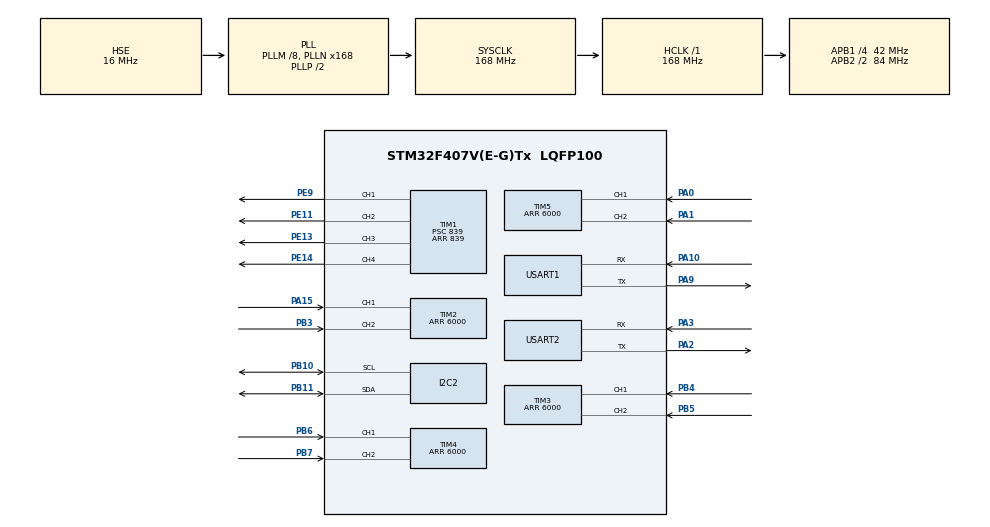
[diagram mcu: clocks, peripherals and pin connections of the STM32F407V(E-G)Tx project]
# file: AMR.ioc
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Dma.Request0=USART2_RX
Dma.Request1=USART2_TX
Dma.Request2=USART1_RX
Dma.Request3=USART1_TX
Dma.USART1_RX.2.Direction=DMA_PERIPH_TO_MEMORY
Dma.USART1_RX.2.FIFOMode=DMA_FIFOMODE_DISABLE
Dma.USART1_RX.2.Instance=DMA2_Stream2
Dma.USART1_RX.2.MemDataAlignment=DMA_MDATAALIGN_BYTE
Dma.USART1_RX.2.MemInc=DMA_MINC_ENABLE
Dma.USART1_RX.2.Mode=DMA_CIRCULAR
Dma.USART1_RX.2.PeriphDataAlignment=DMA_PDATAALIGN_BYTE
Dma.USART1_RX.2.PeriphInc=DMA_PINC_DISABLE
Dma.USART1_RX.2.Priority=DMA_PRIORITY_VERY_HIGH
Dma.USART1_TX.3.Direction=DMA_MEMORY_TO_PERIPH
Dma.USART1_TX.3.FIFOMode=DMA_FIFOMODE_DISABLE
Dma.USART1_TX.3.Instance=DMA2_Stream7
Dma.USART1_TX.3.MemDataAlignment=DMA_MDATAALIGN_BYTE
Dma.USART1_TX.3.MemInc=DMA_MINC_ENABLE
Dma.USART1_TX.3.Mode=DMA_NORMAL
Dma.USART1_TX.3.PeriphDataAlignment=DMA_PDATAALIGN_BYTE
Dma.USART1_TX.3.PeriphInc=DMA_PINC_DISABLE
Dma.USART1_TX.3.Priority=DMA_PRIORITY_VERY_HIGH
Dma.USART2_RX.0.Direction=DMA_PERIPH_TO_MEMORY
Dma.USART2_RX.0.FIFOMode=DMA_FIFOMODE_DISABLE
Dma.USART2_RX.0.Instance=DMA1_Stream5
Dma.USART2_RX.0.MemDataAlignment=DMA_MDATAALIGN_BYTE
Dma.USART2_RX.0.MemInc=DMA_MINC_ENABLE
Dma.USART2_RX.0.Mode=DMA_CIRCULAR
Dma.USART2_RX.0.PeriphDataAlignment=DMA_PDATAALIGN_BYTE
Dma.USART2_RX.0.PeriphInc=DMA_PINC_DISABLE
Dma.USART2_RX.0.Priority=DMA_PRIORITY_LOW
Dma.USART2_TX.1.Direction=DMA_MEMORY_TO_PERIPH
Dma.USART2_TX.1.FIFOMode=DMA_FIFOMODE_DISABLE
Dma.USART2_TX.1.Instance=DMA1_Stream6
Dma.USART2_TX.1.MemDataAlignment=DMA_MDATAALIGN_BYTE
Dma.USART2_TX.1.MemInc=DMA_MINC_ENABLE
Dma.USART2_TX.1.Mode=DMA_NORMAL
Dma.USART2_TX.1.PeriphDataAlignment=DMA_PDATAALIGN_BYTE
Dma.USART2_TX.1.PeriphInc=DMA_PINC_DISABLE
Dma.USART2_TX.1.Priority=DMA_PRIORITY_LOW
FREERTOS.Tasks01=defaultTask,24,128,StartDefaultTask,Default,NULL,Dynamic,NULL,NULL
FREERTOS.configTOTAL_HEAP_SIZE=65536
FREERTOS.configUSE_NEWLIB_REENTRANT=1
I2C2.I2C_Mode=I2C_Fast
Mcu.Family=STM32F4
Mcu.Name=STM32F407V(E-G)Tx
Mcu.Package=LQFP100
NVIC.DMA1_Stream5_IRQn=true\:5\:0\:false\:false\:true\:true\:false\:true\:true
NVIC.DMA1_Stream6_IRQn=true\:5\:0\:false\:false\:true\:true\:false\:true\:true
NVIC.DMA2_Stream2_IRQn=true\:5\:0\:false\:false\:true\:true\:false\:true\:true
NVIC.DMA2_Stream7_IRQn=true\:5\:0\:false\:false\:true\:true\:false\:true\:true
NVIC.PriorityGroup=NVIC_PRIORITYGROUP_4
NVIC.TIM6_DAC_IRQn=true\:15\:0\:false\:false\:true\:false\:false\:true\:true
NVIC.TimeBase=TIM6_DAC_IRQn
NVIC.TimeBaseIP=TIM6
NVIC.USART1_IRQn=true\:5\:0\:false\:false\:true\:true\:false\:true\:true
NVIC.USART2_IRQn=true\:5\:0\:false\:false\:true\:true\:false\:true\:true
PA0-WKUP.Signal=S_TIM5_CH1
PA1.Signal=S_TIM5_CH2
PA10.Mode=Asynchronous
PA10.Signal=USART1_RX
PA15.Signal=S_TIM2_CH1_ETR
PA2.Mode=Asynchronous
PA2.Signal=USART2_TX
PA3.Mode=Asynchronous
PA3.Signal=USART2_RX
PA9.Mode=Asynchronous
PA9.Signal=USART1_TX
PB10.Mode=I2C
PB10.Signal=I2C2_SCL
PB11.Mode=I2C
PB11.Signal=I2C2_SDA
PB3.Signal=S_TIM2_CH2
PB4.Signal=S_TIM3_CH1
PB5.Signal=S_TIM3_CH2
PB6.Signal=S_TIM4_CH1
PB7.Signal=S_TIM4_CH2
PE11.Signal=S_TIM1_CH2
PE13.Signal=S_TIM1_CH3
PE14.Signal=S_TIM1_CH4
PE9.Signal=S_TIM1_CH1
PH0-OSC_IN.Mode=HSE-External-Oscillator
PH0-OSC_IN.Signal=RCC_OSC_IN
PH1-OSC_OUT.Mode=HSE-External-Oscillator
PH1-OSC_OUT.Signal=RCC_OSC_OUT
ProjectManager.HeapSize=0x200
ProjectManager.StackSize=0x400
ProjectManager.TargetToolchain=STM32CubeIDE
RCC.48MHZClocksFreq_Value=84000000
RCC.AHBFreq_Value=168000000
RCC.APB1CLKDivider=RCC_HCLK_DIV4
RCC.APB1Freq_Value=42000000
RCC.APB1TimFreq_Value=84000000
RCC.APB2CLKDivider=RCC_HCLK_DIV2
RCC.APB2Freq_Value=84000000
RCC.APB2TimFreq_Value=168000000
RCC.CortexFreq_Value=168000000
RCC.HCLKFreq_Value=168000000
RCC.HSE_VALUE=16000000
RCC.HSI_VALUE=16000000
RCC.LSE_VALUE=32768
RCC.PLLM=8
RCC.PLLN=168
RCC.PLLSourceVirtual=RCC_PLLSOURCE_HSE
RCC.SYSCLKFreq_VALUE=168000000
RCC.SYSCLKSource=RCC_SYSCLKSOURCE_PLLCLK
RCC.VCOOutputFreq_Value=336000000
SH.S_TIM1_CH1.0=TIM1_CH1,PWM Generation1 CH1
SH.S_TIM1_CH2.0=TIM1_CH2,PWM Generation2 CH2
SH.S_TIM1_CH3.0=TIM1_CH3,PWM Generation3 CH3
SH.S_TIM1_CH4.0=TIM1_CH4,PWM Generation4 CH4
SH.S_TIM2_CH1_ETR.0=TIM2_CH1,Encoder_Interface
SH.S_TIM2_CH2.0=TIM2_CH2,Encoder_Interface
SH.S_TIM3_CH1.0=TIM3_CH1,Encoder_Interface
SH.S_TIM3_CH2.0=TIM3_CH2,Encoder_Interface
SH.S_TIM4_CH1.0=TIM4_CH1,Encoder_Interface
SH.S_TIM4_CH2.0=TIM4_CH2,Encoder_Interface
SH.S_TIM5_CH1.0=TIM5_CH1,Encoder_Interface
SH.S_TIM5_CH2.0=TIM5_CH2,Encoder_Interface
TIM1.AutoReloadPreload=TIM_AUTORELOAD_PRELOAD_ENABLE
TIM1.Channel-PWM\ Generation1\ CH1=TIM_CHANNEL_1
TIM1.Channel-PWM\ Generation2\ CH2=TIM_CHANNEL_2
TIM1.Channel-PWM\ Generation3\ CH3=TIM_CHANNEL_3
TIM1.Channel-PWM\ Generation4\ CH4=TIM_CHANNEL_4
TIM1.Period=839
TIM1.Prescaler=839
TIM2.AutoReloadPreload=TIM_AUTORELOAD_PRELOAD_ENABLE
TIM2.Period=6000
TIM3.AutoReloadPreload=TIM_AUTORELOAD_PRELOAD_ENABLE
TIM3.Period=6000
TIM4.AutoReloadPreload=TIM_AUTORELOAD_PRELOAD_ENABLE
TIM4.Period=6000
TIM5.AutoReloadPreload=TIM_AUTORELOAD_PRELOAD_ENABLE
TIM5.Period=6000
USART1.VirtualMode=VM_ASYNC
USART2.VirtualMode=VM_ASYNC
VP_FREERTOS_VS_CMSIS_V2.Mode=CMSIS_V2
VP_SYS_VS_tim6.Mode=TIM6
board=custom

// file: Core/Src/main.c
/* USER CODE BEGIN Header */
/**
  ******************************************************************************
  * @file           : main.c
  * @brief          : Main program body
  ******************************************************************************
  * @attention
  *
  * Copyright (c) 2026 STMicroelectronics.
  * All rights reserved.
  *
  * This software is licensed under terms that can be found in the LICENSE file
  * in the root directory of this software component.
  * If no LICENSE file comes with this software, it is provided AS-IS.
  *
  ******************************************************************************
  */
/* USER CODE END Header */
#include "main.h"
#include "cmsis_os.h"
#include "dma.h"
#include "i2c.h"
#include "tim.h"
#include "usart.h"
#include "gpio.h"

void SystemClock_Config(void);
void MX_FREERTOS_Init(void);

int main(void)
{

  /* MCU Configuration--------------------------------------------------------*/

  /* Reset of all peripherals, Initializes the Flash interface and the Systick. */
  HAL_Init();

  /* Configure the system clock */
  SystemClock_Config();

  /* Initialize all configured peripherals */
  MX_GPIO_Init();
  MX_DMA_Init();
  MX_TIM1_Init();
  MX_TIM2_Init();
  MX_TIM3_Init();
  MX_TIM4_Init();
  MX_TIM5_Init();
  MX_USART2_UART_Init();
  MX_USART1_UART_Init();
  MX_I2C2_Init();

  /* Init scheduler */
  osKernelInitialize();  /* Call init function for freertos objects (in cmsis_os2.c) */
  MX_FREERTOS_Init();

  /* Start scheduler */
  osKernelStart();

  /* We should never get here as control is now taken by the scheduler */

  /* Infinite loop */
  while (1)
  {

  }
}

void SystemClock_Config(void)
{
  RCC_OscInitTypeDef RCC_OscInitStruct = {0};
  RCC_ClkInitTypeDef RCC_ClkInitStruct = {0};

  /** Configure the main internal regulator output voltage
  */
  __HAL_RCC_PWR_CLK_ENABLE();
  __HAL_PWR_VOLTAGESCALING_CONFIG(PWR_REGULATOR_VOLTAGE_SCALE1);

  /** Initializes the RCC Oscillators according to the specified parameters
  * in the RCC_OscInitTypeDef structure.
  */
  RCC_OscInitStruct.OscillatorType = RCC_OSCILLATORTYPE_HSE;
  RCC_OscInitStruct.HSEState = RCC_HSE_ON;
  RCC_OscInitStruct.PLL.PLLState = RCC_PLL_ON;
  RCC_OscInitStruct.PLL.PLLSource = RCC_PLLSOURCE_HSE;
  RCC_OscInitStruct.PLL.PLLM = 8;
  RCC_OscInitStruct.PLL.PLLN = 168;
  RCC_OscInitStruct.PLL.PLLP = RCC_PLLP_DIV2;
  RCC_OscInitStruct.PLL.PLLQ = 4;
  if (HAL_RCC_OscConfig(&RCC_OscInitStruct) != HAL_OK)
  {
    Error_Handler();
  }

  /** Initializes the CPU, AHB and APB buses clocks
  */
  RCC_ClkInitStruct.ClockType = RCC_CLOCKTYPE_HCLK|RCC_CLOCKTYPE_SYSCLK
                              |RCC_CLOCKTYPE_PCLK1|RCC_CLOCKTYPE_PCLK2;
  RCC_ClkInitStruct.SYSCLKSource = RCC_SYSCLKSOURCE_PLLCLK;
  RCC_ClkInitStruct.AHBCLKDivider = RCC_SYSCLK_DIV1;
  RCC_ClkInitStruct.APB1CLKDivider = RCC_HCLK_DIV4;
  RCC_ClkInitStruct.APB2CLKDivider = RCC_HCLK_DIV2;

  if (HAL_RCC_ClockConfig(&RCC_ClkInitStruct, FLASH_LATENCY_5) != HAL_OK)
  {
    Error_Handler();
  }
}

void HAL_TIM_PeriodElapsedCallback(TIM_HandleTypeDef *htim)
{
  if (htim->Instance == TIM6)
  {
    HAL_IncTick();
  }
}

void Error_Handler(void)
{
  __disable_irq();
  while (1)
  {
  }
}

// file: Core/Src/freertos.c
/* USER CODE BEGIN Header */
/**
  ******************************************************************************
  * File Name          : freertos.c
  * Description        : Code for freertos applications
  ******************************************************************************
  * @attention
  *
  * Copyright (c) 2026 STMicroelectronics.
  * All rights reserved.
  *
  * This software is licensed under terms that can be found in the LICENSE file
  * in the root directory of this software component.
  * If no LICENSE file comes with this software, it is provided AS-IS.
  *
  ******************************************************************************
  */
/* USER CODE END Header */

#include "FreeRTOS.h"
#include "task.h"
#include "main.h"
#include "cmsis_os.h"

/* USER CODE BEGIN Includes */
#include "tim.h"
#include "usart.h"
#include "i2c.h"
#include <stdio.h>
#include <string.h>

#include <rcl/rcl.h>
#include <rcl/error_handling.h>
#include <rclc/rclc.h>
#include <rclc/executor.h>
#include <uxr/client/transport.h>
#include <rmw_microxrcedds_c/config.h>
#include <rmw_microros/rmw_microros.h>

// imu,엔코더
#include <sensor_msgs/msg/imu.h>
#include <std_msgs/msg/float32.h>

#include <geometry_msgs/msg/twist.h>
/* USER CODE END Includes */

/* USER CODE BEGIN Variables */
osThreadId_t microROSTaskHandle;
const osThreadAttr_t microROSTask_attributes = {
  .name = "microROSTask",
  .stack_size = 4096 * 4,   /* 4096 words * 4 bytes = 16384 bytes (16KB) --
                               bumped from 10KB for printf() debug logging headroom */
  .priority = (osPriority_t) osPriorityNormal,
};
/* USER CODE END Variables */
/* Definitions for defaultTask */
osThreadId_t defaultTaskHandle;
const osThreadAttr_t defaultTask_attributes = {
  .name = "defaultTask",
  .stack_size = 128 * 4,
  .priority = (osPriority_t) osPriorityNormal,
};

/* USER CODE BEGIN FunctionPrototypes */
void StartMicroROSTask(void *argument);

bool cubemx_transport_open(struct uxrCustomTransport * transport);
bool cubemx_transport_close(struct uxrCustomTransport * transport);
size_t cubemx_transport_write(struct uxrCustomTransport* transport, const uint8_t * buf, size_t len, uint8_t * err);
size_t cubemx_transport_read(struct uxrCustomTransport* transport, uint8_t* buf, size_t len, int timeout, uint8_t* err);

void * microros_allocate(size_t size, void * state);
void microros_deallocate(void * pointer, void * state);
void * microros_reallocate(void * pointer, size_t size, void * state);
void * microros_zero_allocate(size_t number_of_elements, size_t size_of_element, void * state);
/* USER CODE END FunctionPrototypes */

void StartDefaultTask(void *argument);

void MX_FREERTOS_Init(void); /* (MISRA C 2004 rule 8.1) */

void MX_FREERTOS_Init(void) {

  /* Create the thread(s) */
  /* creation of defaultTask */
  defaultTaskHandle = osThreadNew(StartDefaultTask, NULL, &defaultTask_attributes);

  /* USER CODE BEGIN RTOS_THREADS */
  /* add threads, ... */
  microROSTaskHandle = osThreadNew(StartMicroROSTask, NULL, &microROSTask_attributes);
  /* USER CODE END RTOS_THREADS */

}

void StartDefaultTask(void *argument)
{
  /* USER CODE BEGIN StartDefaultTask */
  /* TIM1 CH1/CH2 = left wheel (fwd/rev), CH3/CH4 = right wheel (fwd/rev)
     dual-PWM H-bridge input scheme: assumed onboard driver wiring, adjust if different */
  HAL_TIM_PWM_Start(&htim1, TIM_CHANNEL_1);
  HAL_TIM_PWM_Start(&htim1, TIM_CHANNEL_2);
  HAL_TIM_PWM_Start(&htim1, TIM_CHANNEL_3);
  HAL_TIM_PWM_Start(&htim1, TIM_CHANNEL_4);

  /* Encoders: right wheel (PE13/PE14 motor) confirmed paired with TIM5 from
     the working single-motor demo. Left wheel (PE9/PE11 motor) encoder TIM
     is an unverified guess (TIM2) -- confirm by hand-spinning left wheel. */
  HAL_TIM_Encoder_Start(&htim2, TIM_CHANNEL_ALL);
  HAL_TIM_Encoder_Start(&htim5, TIM_CHANNEL_ALL);

  /* Start stopped. Actual duty is driven by cmd_vel_callback() below once
     the Raspberry Pi starts publishing cmd_vel over micro-ROS. */
  __HAL_TIM_SET_COMPARE(&htim1, TIM_CHANNEL_1, 0);
  __HAL_TIM_SET_COMPARE(&htim1, TIM_CHANNEL_2, 0);
  __HAL_TIM_SET_COMPARE(&htim1, TIM_CHANNEL_3, 0);
  __HAL_TIM_SET_COMPARE(&htim1, TIM_CHANNEL_4, 0);

  /* Infinite loop */
  for(;;)
  {
    osDelay(1);
  }
  /* USER CODE END StartDefaultTask */
}

/* USER CODE BEGIN Application */
/* Debug console on USART2 (PA2/PA3) -- independent of the USART1 micro-ROS
   transport, so plug a second USB-TTL adapter here to see printf output. */
int __io_putchar(int ch)
{
  HAL_UART_Transmit(&huart2, (uint8_t *)&ch, 1, HAL_MAX_DELAY);
  return ch;
}

/* configCHECK_FOR_STACK_OVERFLOW is enabled in FreeRTOSConfig.h; this hook is
   required once that's on. Uses a raw blocking transmit instead of printf()
   since we're already out of stack when this runs. */
void vApplicationStackOverflowHook(TaskHandle_t xTask, char *pcTaskName)
{
  (void)xTask;
  (void)pcTaskName;
  static const char msg[] = "\r\n[FATAL] stack overflow\r\n";
  HAL_UART_Transmit(&huart2, (uint8_t *)msg, sizeof(msg) - 1, HAL_MAX_DELAY);
  __disable_irq();
  for (;;) {}
}

#define WHEEL_TRACK_M   0.20f
#define WHEEL_RADIUS_M  0.033f
#define WHEEL_CIRC_M    (2.0f * 3.14159265f * WHEEL_RADIUS_M) /* ≈0.2073m */
#define MAX_WHEEL_RPS   2.0f
#define MAX_DUTY        125  /* 12V 기준 안전 상한 duty (300은 5V 테스트값, 12V는 전압비만큼 낮춤) */

/* Encoder -> rps conversion. TICKS_PER_CIRCLE assumes a Hiwonder JGB520-style
   encoder motor (11 PPR * 4 (quadrature) * 90 gear ratio = 3960). Recalibrate
   if the actual motor/gearbox differs. */
#define TICKS_PER_CIRCLE 3960.0f
#define SAMPLE_PERIOD_S  0.05f  /* must match the osDelay(50) loop period below */
#define ENCODER_ARR      6000   /* matches TIM2/TIM5 Period set in tim.c */

static float compute_wheel_rps(TIM_HandleTypeDef *htim, int32_t *last_count)
{
  int32_t count = (int32_t)__HAL_TIM_GET_COUNTER(htim);
  int32_t delta = count - *last_count;

  if (delta > (ENCODER_ARR / 2)) {
    delta -= (ENCODER_ARR + 1);
  } else if (delta < -(ENCODER_ARR / 2)) {
    delta += (ENCODER_ARR + 1);
  }

  *last_count = count;

  return ((float)delta / TICKS_PER_CIRCLE) / SAMPLE_PERIOD_S;
}

/* MPU6050 IMU (I2C2, PB10=SCL/PB11=SDA per Hiwonder board docs) */
#define MPU6050_ADDR             (0x68 << 1)
#define MPU6050_REG_PWR_MGMT_1   0x6B
#define MPU6050_REG_ACCEL_XOUT_H 0x3B

static void mpu6050_init(void)
{
  uint8_t data = 0x00; /* wake up from sleep, use internal 8MHz oscillator */
  HAL_I2C_Mem_Write(&hi2c2, MPU6050_ADDR, MPU6050_REG_PWR_MGMT_1, I2C_MEMADD_SIZE_8BIT, &data, 1, 100);
}

static void mpu6050_read(sensor_msgs__msg__Imu *msg)
{
  uint8_t buf[14];
  if (HAL_I2C_Mem_Read(&hi2c2, MPU6050_ADDR, MPU6050_REG_ACCEL_XOUT_H, I2C_MEMADD_SIZE_8BIT, buf, 14, 100) != HAL_OK) {
    return; /* keep last published values on read failure */
  }

  int16_t accel_x = (int16_t)((buf[0] << 8) | buf[1]);
  int16_t accel_y = (int16_t)((buf[2] << 8) | buf[3]);
  int16_t accel_z = (int16_t)((buf[4] << 8) | buf[5]);
  /* buf[6..7] = temperature, unused */
  int16_t gyro_x  = (int16_t)((buf[8]  << 8) | buf[9]);
  int16_t gyro_y  = (int16_t)((buf[10] << 8) | buf[11]);
  int16_t gyro_z  = (int16_t)((buf[12] << 8) | buf[13]);

  const float ACCEL_SCALE = 9.80665f / 16384.0f;             /* default +-2g range -> m/s^2 */
  const float GYRO_SCALE  = (3.14159265f / 180.0f) / 131.0f; /* default +-250dps range -> rad/s */

  msg->linear_acceleration.x = accel_x * ACCEL_SCALE;
  msg->linear_acceleration.y = accel_y * ACCEL_SCALE;
  msg->linear_acceleration.z = accel_z * ACCEL_SCALE;

  msg->angular_velocity.x = gyro_x * GYRO_SCALE;
  msg->angular_velocity.y = gyro_y * GYRO_SCALE;
  msg->angular_velocity.z = gyro_z * GYRO_SCALE;
}

void cmd_vel_callback(const void * msgin)
{
  const geometry_msgs__msg__Twist * msg = (const geometry_msgs__msg__Twist *)msgin;

  /* newlib-nano's printf() doesn't format floats by default (no -u _printf_float
     linker flag in this project), so log scaled integers instead of %f. */
  printf("[cmd_vel] linear.x=%ld angular.z=%ld (x1000)\r\n",
         (long)(msg->linear.x * 1000.0f), (long)(msg->angular.z * 1000.0f));

  float v_left  = (float)msg->linear.x - (float)msg->angular.z * (WHEEL_TRACK_M / 2.0f);
  float v_right = (float)msg->linear.x + (float)msg->angular.z * (WHEEL_TRACK_M / 2.0f);

  float rps_left  = v_left  / WHEEL_CIRC_M;
  float rps_right = v_right / WHEEL_CIRC_M;

  if (rps_left  >  MAX_WHEEL_RPS) rps_left  =  MAX_WHEEL_RPS;
  if (rps_left  < -MAX_WHEEL_RPS) rps_left  = -MAX_WHEEL_RPS;
  if (rps_right >  MAX_WHEEL_RPS) rps_right =  MAX_WHEEL_RPS;
  if (rps_right < -MAX_WHEEL_RPS) rps_right = -MAX_WHEEL_RPS;

  int32_t duty_left  = (int32_t)((rps_left  / MAX_WHEEL_RPS) * MAX_DUTY);
  int32_t duty_right = (int32_t)((rps_right / MAX_WHEEL_RPS) * MAX_DUTY);

  if (duty_left >= 0) {
    __HAL_TIM_SET_COMPARE(&htim1, TIM_CHANNEL_1, duty_left);
    __HAL_TIM_SET_COMPARE(&htim1, TIM_CHANNEL_2, 0);
  } else {
    __HAL_TIM_SET_COMPARE(&htim1, TIM_CHANNEL_1, 0);
    __HAL_TIM_SET_COMPARE(&htim1, TIM_CHANNEL_2, -duty_left);
  }

  if (duty_right >= 0) {
    __HAL_TIM_SET_COMPARE(&htim1, TIM_CHANNEL_3, duty_right);
    __HAL_TIM_SET_COMPARE(&htim1, TIM_CHANNEL_4, 0);
  } else {
    __HAL_TIM_SET_COMPARE(&htim1, TIM_CHANNEL_3, 0);
    __HAL_TIM_SET_COMPARE(&htim1, TIM_CHANNEL_4, -duty_right);
  }
}

static void print_reset_cause(void)
{
  printf("[reset] RCC->CSR=0x%08lX ->", (unsigned long)RCC->CSR);
  if (RCC->CSR & RCC_CSR_LPWRRSTF) printf(" LOW_POWER");
  if (RCC->CSR & RCC_CSR_WWDGRSTF) printf(" WINDOW_WATCHDOG");
  if (RCC->CSR & RCC_CSR_IWDGRSTF) printf(" INDEPENDENT_WATCHDOG");
  if (RCC->CSR & RCC_CSR_SFTRSTF)  printf(" SOFTWARE");
  if (RCC->CSR & RCC_CSR_PORRSTF)  printf(" POWER_ON/DOWN");
  if (RCC->CSR & RCC_CSR_PINRSTF)  printf(" NRST_PIN");
  if (RCC->CSR & RCC_CSR_BORRSTF)  printf(" BROWN_OUT");
  printf("\r\n");
  __HAL_RCC_CLEAR_RESET_FLAGS();
}

void StartMicroROSTask(void *argument)
{
  print_reset_cause();
  printf("[microROS] task start\r\n");

  rmw_uros_set_custom_transport(
    true,
    (void *) &huart1,
    cubemx_transport_open,
    cubemx_transport_close,
    cubemx_transport_write,
    cubemx_transport_read);

  rcl_allocator_t freeRTOS_allocator = rcutils_get_zero_initialized_allocator();
  freeRTOS_allocator.allocate = microros_allocate;
  freeRTOS_allocator.deallocate = microros_deallocate;
  freeRTOS_allocator.reallocate = microros_reallocate;
  freeRTOS_allocator.zero_allocate = microros_zero_allocate;

  if (!rcutils_set_default_allocator(&freeRTOS_allocator)) {
    printf("Error on default allocators\r\n");
  }

  rclc_support_t support;
  rcl_allocator_t allocator = rcl_get_default_allocator();
  rcl_node_t node;

  printf("[microROS] calling rclc_support_init (waiting for agent)...\r\n");
  rclc_support_init(&support, 0, NULL, &allocator);
  printf("[microROS] support init done\r\n");

  rclc_node_init_default(&node, "amr_node", "", &support);
  printf("[microROS] node init done\r\n");

  /* Publisher/Subscriber는 다음 단계에서 여기에 추가 */
  rcl_publisher_t imu_publisher;
  rcl_publisher_t enc_left_publisher;
  rcl_publisher_t enc_right_publisher;

  sensor_msgs__msg__Imu imu_msg;
  std_msgs__msg__Float32 enc_left_msg;
  std_msgs__msg__Float32 enc_right_msg;

  rclc_publisher_init_default(
    &imu_publisher, &node,
    ROSIDL_GET_MSG_TYPE_SUPPORT(sensor_msgs, msg, Imu),
    "imu/data_raw");

  rclc_publisher_init_default(
    &enc_left_publisher, &node,
    ROSIDL_GET_MSG_TYPE_SUPPORT(std_msgs, msg, Float32),
    "encoder/left_rps");

  rclc_publisher_init_default(
    &enc_right_publisher, &node,
    ROSIDL_GET_MSG_TYPE_SUPPORT(std_msgs, msg, Float32),
    "encoder/right_rps");

  rcl_subscription_t cmd_vel_subscriber;
  geometry_msgs__msg__Twist cmd_vel_msg;

  rclc_subscription_init_default(
    &cmd_vel_subscriber, &node,
    ROSIDL_GET_MSG_TYPE_SUPPORT(geometry_msgs, msg, Twist),
    "cmd_vel");

  rclc_executor_t executor;
  rclc_executor_init(&executor, &support.context, 1, &allocator);
  rclc_executor_add_subscription(
    &executor, &cmd_vel_subscriber, &cmd_vel_msg,
    &cmd_vel_callback, ON_NEW_DATA);

  static char imu_frame_id[] = "imu_link";
  imu_msg.header.frame_id.data = imu_frame_id;
  imu_msg.header.frame_id.size = strlen(imu_frame_id);
  imu_msg.header.frame_id.capacity = sizeof(imu_frame_id);

  /* MPU6050 alone has no sensor fusion, so absolute orientation is unknown.
     Mark it as such per the sensor_msgs/Imu convention (orientation_covariance[0] = -1). */
  imu_msg.orientation.x = 0.0;
  imu_msg.orientation.y = 0.0;
  imu_msg.orientation.z = 0.0;
  imu_msg.orientation.w = 1.0;
  imu_msg.orientation_covariance[0] = -1.0;

  mpu6050_init();

  int32_t last_count_left = (int32_t)__HAL_TIM_GET_COUNTER(&htim2);
  int32_t last_count_right = (int32_t)__HAL_TIM_GET_COUNTER(&htim5);

  printf("[microROS] entering main loop\r\n");

  uint32_t loop_count = 0;

  for(;;)
  {
    mpu6050_read(&imu_msg);
    enc_left_msg.data  = compute_wheel_rps(&htim2, &last_count_left);
    enc_right_msg.data = compute_wheel_rps(&htim5, &last_count_right);

    rcl_publish(&imu_publisher, &imu_msg, NULL);
    rcl_publish(&enc_left_publisher, &enc_left_msg, NULL);
    rcl_publish(&enc_right_publisher, &enc_right_msg, NULL);

    rclc_executor_spin_some(&executor, RCL_MS_TO_NS(10));

    /* Heartbeat every ~1s (50ms loop period) so we can see the task is alive
       even with no agent connected. */
    if ((++loop_count % 20) == 0) {
      printf("[microROS] alive, loop=%lu\r\n", (unsigned long)loop_count);
    }

    osDelay(50);
  }
}
/* USER CODE END Application */
